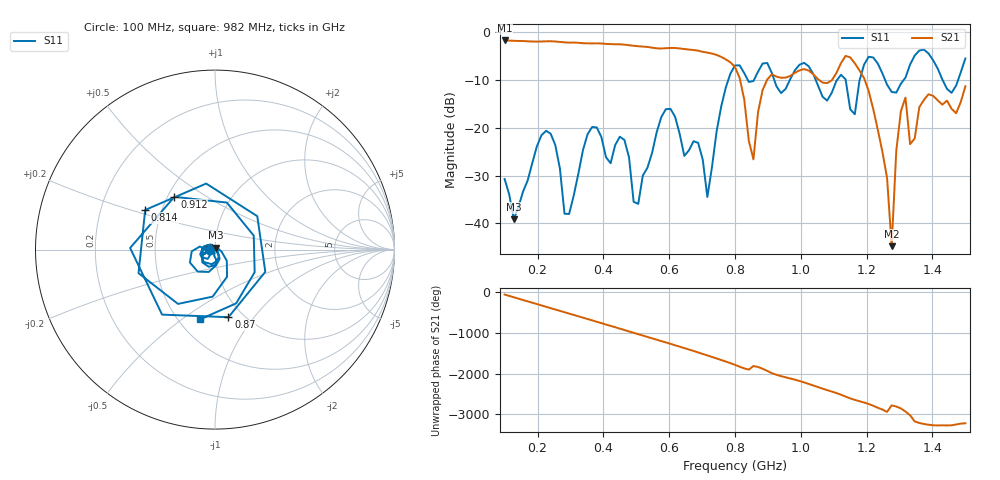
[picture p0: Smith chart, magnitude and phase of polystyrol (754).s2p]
! NanoVNA-App
! Date: 2025-09-25 15:35:45
! Start: 100MHz Stop: 1,5GHz Points: 101
! S-Parameter data: F S11 S21 S12 S22
# Hz S RI R 50
!  Frequency  S11_Real  S11_Imag  S21_Real  S21_Imag  S12_Real  S12_Imag  S22_Real  S22_Imag
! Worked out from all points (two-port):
!   101 points, 100 MHz to 1.5 GHz, reference 50 ohm
!   highest |S21| = -1.80 dB at 100 MHz (marker M1); lowest = -44.7 dB at 1.276 GHz (marker M2)
!   |S21| within 3 dB of the highest: start of sweep to 743 MHz
!   lowest |S11| = -39.1 dB at 128 MHz (marker M3), VSWR 1.02, Z = 50.3 + j1.06 ohm
!   |S11| at or under -10 dB: start of sweep to 779.8 MHz; 1.045 GHz to 1.111 GHz (65.71 MHz wide, 6.1 % of centre); 1.256 GHz to 1.313 GHz (57.21 MHz wide, 4.45 % of centre)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
!   S12 and S22 are empty: the file has one direction only
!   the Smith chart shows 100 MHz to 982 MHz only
!   S11 on the Smith chart (normalised r, x): 100 MHz: 0.94, -0.01; 814 MHz: 0.40, +0.22; 870 MHz: 0.85, -0.76; 912 MHz: 0.54, +0.37; 982 MHz: 0.64, -0.59
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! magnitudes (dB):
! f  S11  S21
! 100 MHz  -30.7  -1.8
! 128 MHz  -39.1  -1.9
! 212 MHz  -21.6  -2.0
! 282 MHz  -38.0  -2.2
! 338 MHz  -24.7  -2.4
! 464 MHz  -22.6  -2.7
! 506 MHz  -35.9  -3.0
! 576 MHz  -17.8  -3.5
! 716 MHz  -34.5  -4.3
! 800 MHz  -7.0  -7.4
! 814 MHz  -7.0  -9.6
! 856 MHz  -10.3  -26.6
! 870 MHz  -8.3  -16.8
! 912 MHz  -8.6  -8.9
! 982 MHz  -8.0  -8.6
! 1.038 GHz  -8.8  -8.9
! 1.164 GHz  -17.2  -6.6
! 1.192 GHz  -6.9  -9.6
! 1.276 GHz  -12.5  -44.7
! 1.318 GHz  -9.5  -13.7
! 1.332 GHz  -6.8  -23.5
! 1.5 GHz  -5.6  -11.4
